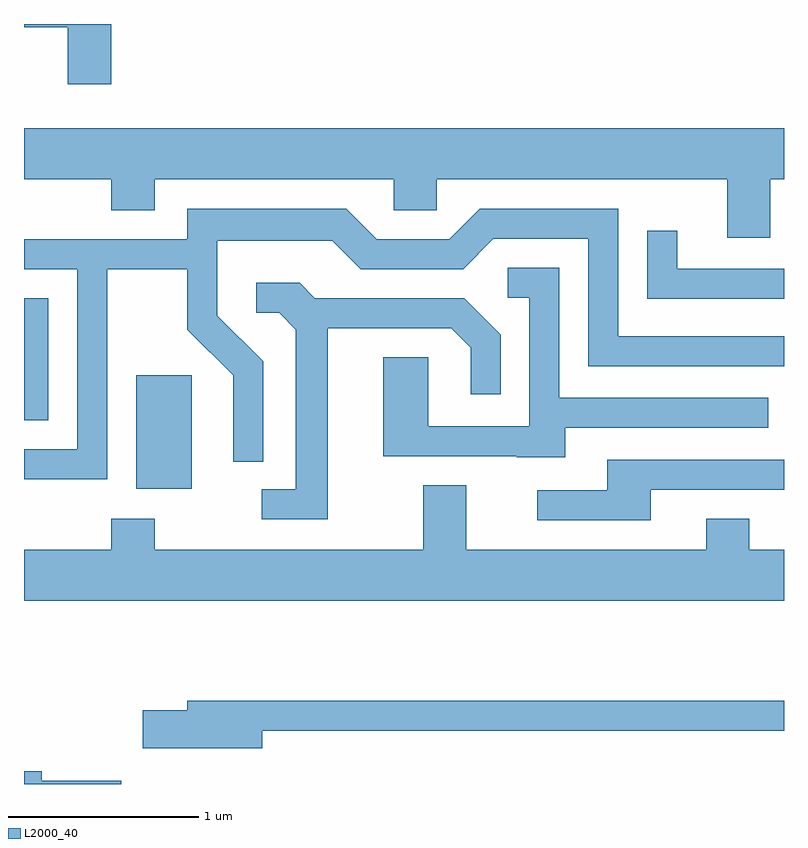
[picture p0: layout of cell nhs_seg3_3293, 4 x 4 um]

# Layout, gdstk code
import gdstk
lib = gdstk.Library(unit=1e-6, precision=1e-09)
def R(c, l, rs):  # rectangles x0, y0, x1, y1
    for r in rs: c.add(gdstk.rectangle(r[:2], r[2:], *l))
def P(c, l, *ps):  # polygons
    for p in ps: c.add(gdstk.Polygon(p, *l))
L2000_40 = (2000, 40)

nhs_seg3_3293 = lib.new_cell('nhs_seg3_3293')
R(nhs_seg3_3293, L2000_40, [(282.201,1175.446,282.494,1176.044), (281.611,1175.806,281.739,1176.449)])
P(nhs_seg3_3293, L2000_40, [(282.069,1177.892),(281.611,1177.892),(281.611,1177.876),(281.841,1177.876),(281.841,1177.576),(282.069,1177.576)],
  [(285.539,1177.076),(285.611,1177.076),(285.611,1177.344),(281.611,1177.344),(281.611,1177.076),(282.071,1177.076),(282.071,1176.911),(282.299,1176.911),(282.299,1177.076),(283.556,1177.076),(283.556,1176.911),(283.784,1176.911),(283.784,1177.076),(285.311,1177.076),(285.311,1176.766),(285.539,1176.766)],
  [(282.049,1176.601),(282.471,1176.601),(282.471,1176.284),(282.711,1176.044),(282.711,1175.588),(282.869,1175.588),(282.869,1176.117),(282.629,1176.357),(282.629,1176.751),(283.234,1176.751),(283.384,1176.601),(283.922,1176.601),(284.082,1176.761),(284.581,1176.761),(284.581,1176.091),(285.611,1176.091),(285.611,1176.249),(284.739,1176.249),(284.739,1176.919),(284.009,1176.919),(283.849,1176.759),(283.467,1176.759),(283.307,1176.919),(282.471,1176.919),(282.471,1176.759),(281.611,1176.759),(281.611,1176.601),(281.891,1176.601),(281.891,1175.654),(281.611,1175.654),(281.611,1175.496),(282.049,1175.496)],
  [(285.611,1176.604),(285.049,1176.604),(285.049,1176.803),(284.891,1176.803),(284.891,1176.446),(285.611,1176.446)],
  [(284.459,1175.766),(285.528,1175.766),(285.528,1175.924),(284.429,1175.924),(284.429,1176.609),(284.158,1176.609),(284.158,1176.451),(284.271,1176.451),(284.271,1175.774),(283.739,1175.774),(283.739,1176.139),(283.501,1176.139),(283.501,1175.616),(284.205,1175.616),(284.205,1175.611),(284.459,1175.611)],
  [(283.209,1176.291),(283.859,1176.291),(283.961,1176.189),(283.961,1175.943),(284.119,1175.943),(284.119,1176.257),(283.927,1176.449),(283.142,1176.449),(283.062,1176.529),(282.833,1176.529),(282.833,1176.371),(282.954,1176.371),(283.041,1176.284),(283.041,1175.444),(282.863,1175.444),(282.863,1175.286),(283.209,1175.286)],
  [(284.909,1175.441),(285.611,1175.441),(285.611,1175.599),(284.681,1175.599),(284.681,1175.439),(284.313,1175.439),(284.313,1175.281),(284.909,1175.281)],
  [(285.611,1175.124),(285.429,1175.124),(285.429,1175.289),(285.201,1175.289),(285.201,1175.124),(283.939,1175.124),(283.939,1175.464),(283.711,1175.464),(283.711,1175.124),(282.299,1175.124),(282.299,1175.289),(282.071,1175.289),(282.071,1175.124),(281.611,1175.124),(281.611,1174.856),(285.611,1174.856)],
  [(282.864,1174.171),(285.611,1174.171),(285.611,1174.329),(282.471,1174.329),(282.471,1174.279),(282.236,1174.279),(282.236,1174.081),(282.864,1174.081)],
  [(282.124,1173.909),(281.704,1173.909),(281.704,1173.959),(281.611,1173.959),(281.611,1173.892),(282.124,1173.892)])

lib.write_gds('nhs_seg3_3293.gds')
